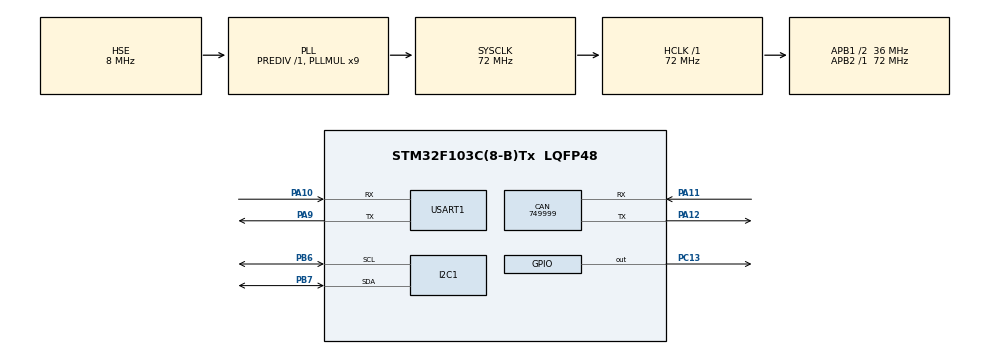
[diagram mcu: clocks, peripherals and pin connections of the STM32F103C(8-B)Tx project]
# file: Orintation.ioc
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CAN.CalculateBaudRate=749999
CAN.CalculateTimeBit=1333
CAN.CalculateTimeQuantum=444.44444444444446
Mcu.Family=STM32F1
Mcu.Name=STM32F103C(8-B)Tx
Mcu.Package=LQFP48
NVIC.PriorityGroup=NVIC_PRIORITYGROUP_4
NVIC.TIM1_BRK_IRQn=true\:0\:0\:false\:false\:true\:true\:true\:true
NVIC.TIM1_UP_IRQn=true\:0\:0\:false\:false\:true\:true\:true\:true
PA10.Mode=Asynchronous
PA10.Signal=USART1_RX
PA11.Mode=CAN_Activate
PA11.Signal=CAN_RX
PA12.Mode=CAN_Activate
PA12.Signal=CAN_TX
PA13.Mode=Serial_Wire
PA13.Signal=SYS_JTMS-SWDIO
PA14.Mode=Serial_Wire
PA14.Signal=SYS_JTCK-SWCLK
PA9.Mode=Asynchronous
PA9.Signal=USART1_TX
PB6.Mode=I2C
PB6.Signal=I2C1_SCL
PB7.Mode=I2C
PB7.Signal=I2C1_SDA
PC13-TAMPER-RTC.Signal=GPIO_Output
PD0-OSC_IN.Mode=HSE-External-Oscillator
PD0-OSC_IN.Signal=RCC_OSC_IN
PD1-OSC_OUT.Mode=HSE-External-Oscillator
PD1-OSC_OUT.Signal=RCC_OSC_OUT
ProjectManager.HeapSize=0x200
ProjectManager.StackSize=0x400
ProjectManager.TargetToolchain=STM32CubeIDE
RCC.AHBFreq_Value=72000000
RCC.APB1CLKDivider=RCC_HCLK_DIV2
RCC.APB1Freq_Value=36000000
RCC.APB1TimFreq_Value=72000000
RCC.APB2Freq_Value=72000000
RCC.APB2TimFreq_Value=72000000
RCC.HCLKFreq_Value=72000000
RCC.PLLMUL=RCC_PLL_MUL9
RCC.PLLSourceVirtual=RCC_PLLSOURCE_HSE
RCC.SYSCLKFreq_VALUE=72000000
RCC.SYSCLKSource=RCC_SYSCLKSOURCE_PLLCLK
RCC.USBFreq_Value=72000000
TIM1.Period=1000
TIM1.Prescaler=7200
USART1.VirtualMode=VM_ASYNC
VP_TIM1_VS_ClockSourceINT.Mode=Internal
board=custom

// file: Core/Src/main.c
/* USER CODE BEGIN Header */
/**
 ******************************************************************************
 * @file           : main.c
 * @brief          : Main program body
 ******************************************************************************
 * @attention
 *
 * Copyright (c) 2025 STMicroelectronics.
 * All rights reserved.
 *
 * This software is licensed under terms that can be found in the LICENSE file
 * in the root directory of this software component.
 * If no LICENSE file comes with this software, it is provided AS-IS.
 *
 ******************************************************************************
 */
/* USER CODE END Header */
#include "main.h"

/* USER CODE BEGIN Includes */
#include "Orintation.h"
#include "stdio.h"
#include "string.h"
/* USER CODE END Includes */

CAN_HandleTypeDef hcan;

I2C_HandleTypeDef hi2c1;

TIM_HandleTypeDef htim1;

UART_HandleTypeDef huart1;

/* USER CODE BEGIN PV */
OrintationData OriData;
char buffer[100];
Status S;
uint8_t i=0;
/* USER CODE END PV */

void SystemClock_Config(void);
static void MX_GPIO_Init(void);
static void MX_CAN_Init(void);
static void MX_I2C1_Init(void);
static void MX_TIM1_Init(void);
static void MX_USART1_UART_Init(void);

/* USER CODE BEGIN 0 */
void HAL_TIM_PeriodElapsedCallback(TIM_HandleTypeDef *htim)
{
        if(htim->Instance == TIM1) //check if the interrupt comes from TIM1
        {
        	HAL_GPIO_TogglePin(GPIOC, GPIO_PIN_13);
        	Orintation_Acc_Get(&OriData);
        	Orintation_Accl_HorizonCorr(&OriData);
        	Orintation_Horizon_AcclCorr(&OriData);

                //HAL_GPIO_TogglePin(led13_GPIO_Port, led13_Pin);
        }
}
/* USER CODE END 0 */

int main(void)
{

  /* MCU Configuration--------------------------------------------------------*/

  /* Reset of all peripherals, Initializes the Flash interface and the Systick. */
  HAL_Init();

  /* USER CODE BEGIN Init */
	OriData.I2Cx=I2C1;
  /* USER CODE END Init */

  /* Configure the system clock */
  SystemClock_Config();

  /* Initialize all configured peripherals */
  MX_GPIO_Init();
  MX_CAN_Init();
  MX_I2C1_Init();
  MX_TIM1_Init();
  MX_USART1_UART_Init();
  /* USER CODE BEGIN 2 */
  Orintation_init(&OriData, I2C1, 0.4, 0.4, ADXL_RANGE_2G);
  sprintf(buffer, "ADXL_Err = %d\r\n",S);
  HAL_UART_Transmit(&huart1, (uint8_t*)buffer, strlen(buffer), 100);
  sprintf(buffer, "Kf = %f\r\n",OriData.Kf_a);
  HAL_UART_Transmit(&huart1, (uint8_t*)buffer, strlen(buffer), 100);
  //Orintation_Acc_Get(&OriData);
  Orintation_Horizon_AcclCorr(&OriData);
  Orintation_Accl_HorizonCorr(&OriData);
  HAL_TIM_Base_Start_IT(&htim1);
  //HAL_GPIO_TogglePin(GPIOC, GPIO_PIN_13);
  /* USER CODE END 2 */

  /* Infinite loop */
  /* USER CODE BEGIN WHILE */
	while (1)
	{

		//Orintation_Acc_Get(&OriData);
		//Orintation_Accl_HorizonCorr(&OriData);
		//Orintation_Horizon_AcclCorr(&OriData);

		sprintf(buffer, "ADXL_Err = %d Accl: X = %.2f, Y = %.2f, Z = %.2f\r\n",S,OriData.AcceXYZ_cor[0],OriData.AcceXYZ_cor[1],OriData.AcceXYZ_cor[2]);
		HAL_UART_Transmit(&huart1, (uint8_t*)buffer, strlen(buffer), 100);
		sprintf(buffer, "Ang: Pitch = %.2f, Yaw = %.2f, Roll = %.2f\r\n",OriData.AnglPYR[0],OriData.AnglPYR[1],OriData.AnglPYR[2]);
		HAL_UART_Transmit(&huart1, (uint8_t*)buffer, strlen(buffer), 100);
		HAL_Delay(1000);

    /* USER CODE END WHILE */

	}
}

void SystemClock_Config(void)
{
  RCC_OscInitTypeDef RCC_OscInitStruct = {0};
  RCC_ClkInitTypeDef RCC_ClkInitStruct = {0};

  /** Initializes the RCC Oscillators according to the specified parameters
  * in the RCC_OscInitTypeDef structure.
  */
  RCC_OscInitStruct.OscillatorType = RCC_OSCILLATORTYPE_HSE;
  RCC_OscInitStruct.HSEState = RCC_HSE_ON;
  RCC_OscInitStruct.HSEPredivValue = RCC_HSE_PREDIV_DIV1;
  RCC_OscInitStruct.HSIState = RCC_HSI_ON;
  RCC_OscInitStruct.PLL.PLLState = RCC_PLL_ON;
  RCC_OscInitStruct.PLL.PLLSource = RCC_PLLSOURCE_HSE;
  RCC_OscInitStruct.PLL.PLLMUL = RCC_PLL_MUL9;
  if (HAL_RCC_OscConfig(&RCC_OscInitStruct) != HAL_OK)
  {
    Error_Handler();
  }

  /** Initializes the CPU, AHB and APB buses clocks
  */
  RCC_ClkInitStruct.ClockType = RCC_CLOCKTYPE_HCLK|RCC_CLOCKTYPE_SYSCLK
                              |RCC_CLOCKTYPE_PCLK1|RCC_CLOCKTYPE_PCLK2;
  RCC_ClkInitStruct.SYSCLKSource = RCC_SYSCLKSOURCE_PLLCLK;
  RCC_ClkInitStruct.AHBCLKDivider = RCC_SYSCLK_DIV1;
  RCC_ClkInitStruct.APB1CLKDivider = RCC_HCLK_DIV2;
  RCC_ClkInitStruct.APB2CLKDivider = RCC_HCLK_DIV1;

  if (HAL_RCC_ClockConfig(&RCC_ClkInitStruct, FLASH_LATENCY_2) != HAL_OK)
  {
    Error_Handler();
  }
}

static void MX_CAN_Init(void)
{

  hcan.Instance = CAN1;
  hcan.Init.Prescaler = 16;
  hcan.Init.Mode = CAN_MODE_NORMAL;
  hcan.Init.SyncJumpWidth = CAN_SJW_1TQ;
  hcan.Init.TimeSeg1 = CAN_BS1_1TQ;
  hcan.Init.TimeSeg2 = CAN_BS2_1TQ;
  hcan.Init.TimeTriggeredMode = DISABLE;
  hcan.Init.AutoBusOff = DISABLE;
  hcan.Init.AutoWakeUp = DISABLE;
  hcan.Init.AutoRetransmission = DISABLE;
  hcan.Init.ReceiveFifoLocked = DISABLE;
  hcan.Init.TransmitFifoPriority = DISABLE;
  if (HAL_CAN_Init(&hcan) != HAL_OK)
  {
    Error_Handler();
  }

}

static void MX_I2C1_Init(void)
{

  hi2c1.Instance = I2C1;
  hi2c1.Init.ClockSpeed = 100000;
  hi2c1.Init.DutyCycle = I2C_DUTYCYCLE_2;
  hi2c1.Init.OwnAddress1 = 0;
  hi2c1.Init.AddressingMode = I2C_ADDRESSINGMODE_7BIT;
  hi2c1.Init.DualAddressMode = I2C_DUALADDRESS_DISABLE;
  hi2c1.Init.OwnAddress2 = 0;
  hi2c1.Init.GeneralCallMode = I2C_GENERALCALL_DISABLE;
  hi2c1.Init.NoStretchMode = I2C_NOSTRETCH_DISABLE;
  if (HAL_I2C_Init(&hi2c1) != HAL_OK)
  {
    Error_Handler();
  }

}

static void MX_TIM1_Init(void)
{

  TIM_ClockConfigTypeDef sClockSourceConfig = {0};
  TIM_MasterConfigTypeDef sMasterConfig = {0};

  htim1.Instance = TIM1;
  htim1.Init.Prescaler = 720;
  htim1.Init.CounterMode = TIM_COUNTERMODE_UP;
  htim1.Init.Period = 1000;
  htim1.Init.ClockDivision = TIM_CLOCKDIVISION_DIV1;
  htim1.Init.RepetitionCounter = 0;
  htim1.Init.AutoReloadPreload = TIM_AUTORELOAD_PRELOAD_DISABLE;
  if (HAL_TIM_Base_Init(&htim1) != HAL_OK)
  {
    Error_Handler();
  }
  sClockSourceConfig.ClockSource = TIM_CLOCKSOURCE_INTERNAL;
  if (HAL_TIM_ConfigClockSource(&htim1, &sClockSourceConfig) != HAL_OK)
  {
    Error_Handler();
  }
  sMasterConfig.MasterOutputTrigger = TIM_TRGO_RESET;
  sMasterConfig.MasterSlaveMode = TIM_MASTERSLAVEMODE_DISABLE;
  if (HAL_TIMEx_MasterConfigSynchronization(&htim1, &sMasterConfig) != HAL_OK)
  {
    Error_Handler();
  }

}

static void MX_USART1_UART_Init(void)
{

  huart1.Instance = USART1;
  huart1.Init.BaudRate = 115200;
  huart1.Init.WordLength = UART_WORDLENGTH_8B;
  huart1.Init.StopBits = UART_STOPBITS_1;
  huart1.Init.Parity = UART_PARITY_NONE;
  huart1.Init.Mode = UART_MODE_TX_RX;
  huart1.Init.HwFlowCtl = UART_HWCONTROL_NONE;
  huart1.Init.OverSampling = UART_OVERSAMPLING_16;
  if (HAL_UART_Init(&huart1) != HAL_OK)
  {
    Error_Handler();
  }

}

static void MX_GPIO_Init(void)
{
  GPIO_InitTypeDef GPIO_InitStruct = {0};

  /* GPIO Ports Clock Enable */
  __HAL_RCC_GPIOC_CLK_ENABLE();
  __HAL_RCC_GPIOD_CLK_ENABLE();
  __HAL_RCC_GPIOA_CLK_ENABLE();
  __HAL_RCC_GPIOB_CLK_ENABLE();

  /*Configure GPIO pin Output Level */
  HAL_GPIO_WritePin(GPIOC, GPIO_PIN_13, GPIO_PIN_RESET);

  /*Configure GPIO pin : PC13 */
  GPIO_InitStruct.Pin = GPIO_PIN_13;
  GPIO_InitStruct.Mode = GPIO_MODE_OUTPUT_PP;
  GPIO_InitStruct.Pull = GPIO_NOPULL;
  GPIO_InitStruct.Speed = GPIO_SPEED_FREQ_LOW;
  HAL_GPIO_Init(GPIOC, &GPIO_InitStruct);

}

void Error_Handler(void)
{
	__disable_irq();
	while (1)
	{
	}
}
